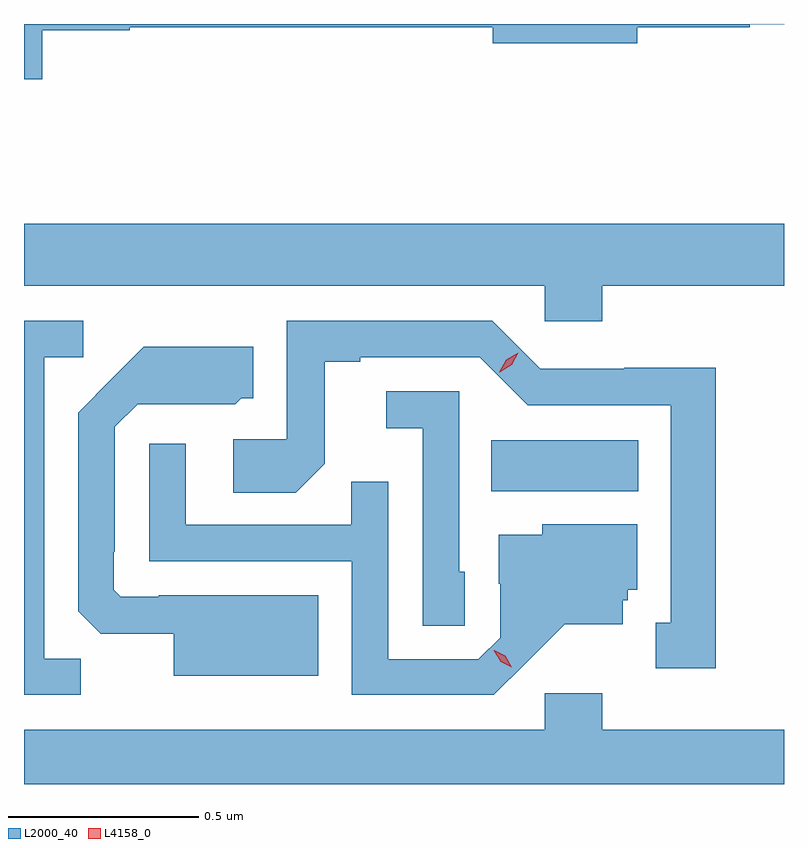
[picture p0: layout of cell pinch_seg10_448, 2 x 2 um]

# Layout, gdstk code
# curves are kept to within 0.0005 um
import gdstk
lib = gdstk.Library(unit=1e-6, precision=1e-09)
def R(c, l, rs):  # rectangles x0, y0, x1, y1
    for r in rs: c.add(gdstk.rectangle(r[:2], r[2:], *l))
def P(c, l, *ps):  # polygons
    for p in ps: c.add(gdstk.Polygon(p, *l))
L2000_40 = (2000, 40)
L4158_0 = (4158, 0)

pinch_seg10_448 = lib.new_cell('pinch_seg10_448')
R(pinch_seg10_448, L2000_40, [(368.026,1314.428,368.413,1314.562)])
P(pinch_seg10_448, L2000_40, [(366.844,1315.64),(367.074,1315.64),(367.074,1315.648),(368.03,1315.648),(368.03,1315.606),(368.41,1315.606),(368.41,1315.648),(368.706,1315.648),(368.706,1315.656),(368.796,1315.656),(368.796,1315.657),(366.796,1315.657),(366.796,1315.511),(366.844,1315.511)],
  [(368.318,1314.968),(368.796,1314.968),(368.796,1315.132),(366.796,1315.132),(366.796,1314.968),(368.166,1314.968),(368.166,1314.875),(368.318,1314.875)],
  [(368.617,1314.752),(368.376,1314.752),(368.376,1314.75),(368.154,1314.75),(368.028,1314.876),(367.488,1314.876),(367.488,1314.564),(367.347,1314.564),(367.347,1314.424),(367.511,1314.424),(367.587,1314.5),(367.587,1314.768),(367.681,1314.768),(367.681,1314.78),(367.995,1314.78),(368.121,1314.654),(368.498,1314.654),(368.498,1314.081),(368.459,1314.081),(368.459,1313.961),(368.617,1313.961)],
  [(366.945,1313.987),(366.849,1313.987),(366.849,1314.78),(366.952,1314.78),(366.952,1314.876),(366.796,1314.876),(366.796,1313.892),(366.945,1313.892)],
  [(367.57,1314.154),(367.15,1314.154),(367.15,1314.15),(367.05,1314.15),(367.032,1314.168),(367.032,1314.268),(367.035,1314.268),(367.035,1314.597),(367.095,1314.657),(367.218,1314.657),(367.218,1314.656),(367.352,1314.656),(367.368,1314.672),(367.399,1314.672),(367.399,1314.808),(367.111,1314.808),(366.939,1314.634),(366.939,1314.112),(366.998,1314.053),(367.19,1314.053),(367.19,1313.942),(367.57,1313.942)],
  [(367.956,1314.216),(367.941,1314.216),(367.941,1314.69),(367.749,1314.69),(367.749,1314.593),(367.845,1314.593),(367.845,1314.073),(367.956,1314.073)],
  [(368.116,1313.975),(368.219,1314.077),(368.371,1314.077),(368.371,1314.141),(368.385,1314.141),(368.385,1314.168),(368.41,1314.168),(368.41,1314.34),(368.16,1314.34),(368.16,1314.313),(368.045,1314.313),(368.045,1314.184),(368.049,1314.184),(368.049,1314.042),(367.992,1313.985),(367.755,1313.985),(367.755,1314.452),(367.657,1314.452),(367.657,1314.339),(367.221,1314.339),(367.221,1314.553),(367.125,1314.553),(367.125,1314.243),(367.659,1314.243),(367.659,1313.892),(368.032,1313.892)],
  [(368.796,1313.8),(368.318,1313.8),(368.318,1313.896),(368.166,1313.896),(368.166,1313.8),(366.796,1313.8),(366.796,1313.657),(368.796,1313.657)])
P(pinch_seg10_448, L4158_0, [(368.047,1314.741),(368.047,1314.741),(368.065,1314.774),(368.097,1314.792),(368.097,1314.792),(368.097,1314.792),(368.079,1314.76),(368.048,1314.741)],
  [(368.08,1313.964),(368.05,1313.979),(368.032,1314.009),(368.032,1314.009),(368.033,1314.009),(368.063,1313.994),(368.08,1313.964),(368.08,1313.964)])

lib.write_gds('pinch_seg10_448.gds')
